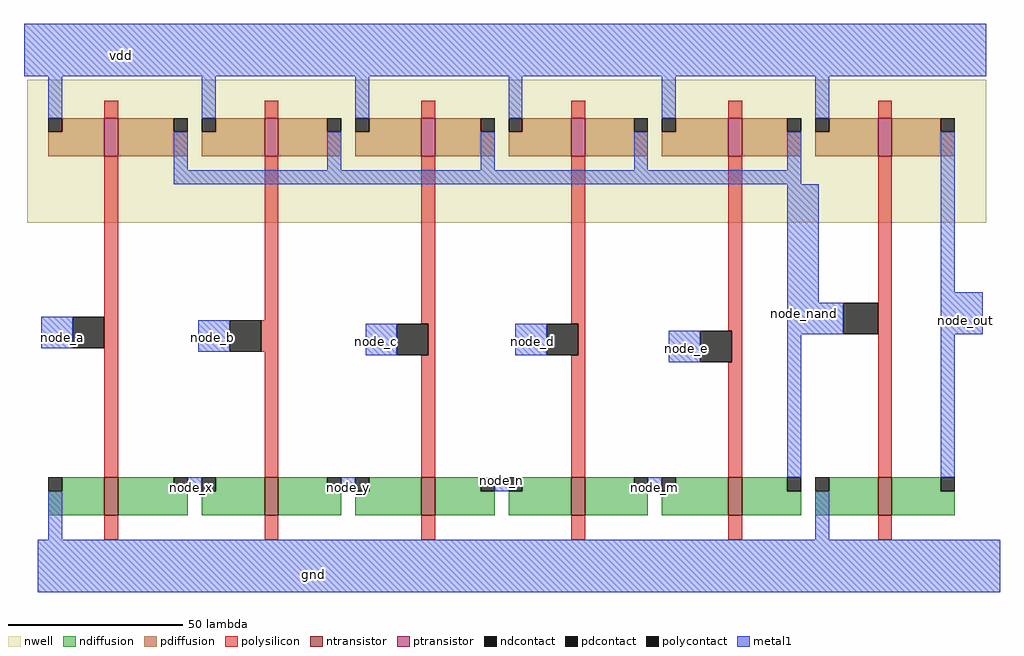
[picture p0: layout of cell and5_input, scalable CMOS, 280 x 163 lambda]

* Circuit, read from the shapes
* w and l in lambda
.subckt and5_input gnd node_a node_b node_c node_d node_e node_m node_n node_nand node_out node_x node_y vdd
M1 node_x node_a gnd VSUBS nfet w=11 l=4
M2 node_y node_b node_x VSUBS nfet w=11 l=4
M3 node_n node_c node_y VSUBS nfet w=11 l=4
M4 node_m node_d node_n VSUBS nfet w=11 l=4
M5 node_nand node_e node_m VSUBS nfet w=11 l=4
M6 node_out node_nand gnd VSUBS nfet w=11 l=4
M7 node_nand node_a vdd n1 pfet w=11 l=4
M8 node_nand node_b vdd n1 pfet w=11 l=4
M9 node_nand node_c vdd n1 pfet w=11 l=4
M10 node_nand node_d vdd n1 pfet w=11 l=4
M11 node_nand node_e vdd n1 pfet w=11 l=4
M12 node_out node_nand vdd n1 pfet w=11 l=4
.ends

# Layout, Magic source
magic
tech scmos
<< nwell >>
rect -594 810 -319 851
<< ntransistor >>
rect -572 726 -568 737
rect -526 726 -522 737
rect -481 726 -477 737
rect -438 726 -434 737
rect -393 726 -389 737
rect -350 726 -346 737
<< ptransistor >>
rect -572 829 -568 840
rect -526 829 -522 840
rect -481 829 -477 840
rect -438 829 -434 840
rect -393 829 -389 840
rect -350 829 -346 840
<< ndiffusion >>
rect -584 733 -572 737
rect -588 726 -572 733
rect -568 733 -552 737
rect -568 726 -548 733
rect -540 733 -526 737
rect -544 726 -526 733
rect -522 733 -508 737
rect -522 726 -504 733
rect -496 733 -481 737
rect -500 726 -481 733
rect -477 733 -464 737
rect -477 726 -460 733
rect -452 733 -438 737
rect -456 726 -438 733
rect -434 733 -420 737
rect -434 726 -416 733
rect -408 733 -393 737
rect -412 726 -393 733
rect -389 733 -376 737
rect -389 726 -372 733
rect -364 733 -350 737
rect -368 726 -350 733
rect -346 733 -332 737
rect -346 726 -328 733
<< pdiffusion >>
rect -584 836 -572 840
rect -588 829 -572 836
rect -568 836 -552 840
rect -568 829 -548 836
rect -540 836 -526 840
rect -544 829 -526 836
rect -522 836 -508 840
rect -522 829 -504 836
rect -496 836 -481 840
rect -500 829 -481 836
rect -477 836 -464 840
rect -477 829 -460 836
rect -452 836 -438 840
rect -456 829 -438 836
rect -434 836 -420 840
rect -434 829 -416 836
rect -408 836 -393 840
rect -412 829 -393 836
rect -389 836 -376 840
rect -389 829 -372 836
rect -364 836 -350 840
rect -368 829 -350 836
rect -346 836 -332 840
rect -346 829 -328 836
<< ndcontact >>
rect -588 733 -584 737
rect -552 733 -548 737
rect -544 733 -540 737
rect -508 733 -504 737
rect -500 733 -496 737
rect -464 733 -460 737
rect -456 733 -452 737
rect -420 733 -416 737
rect -412 733 -408 737
rect -376 733 -372 737
rect -368 733 -364 737
rect -332 733 -328 737
<< pdcontact >>
rect -588 836 -584 840
rect -552 836 -548 840
rect -544 836 -540 840
rect -508 836 -504 840
rect -500 836 -496 840
rect -464 836 -460 840
rect -456 836 -452 840
rect -420 836 -416 840
rect -412 836 -408 840
rect -376 836 -372 840
rect -368 836 -364 840
rect -332 836 -328 840
<< polysilicon >>
rect -572 840 -568 845
rect -526 840 -522 845
rect -481 840 -477 845
rect -438 840 -434 845
rect -393 840 -389 845
rect -350 840 -346 845
rect -572 737 -568 829
rect -526 782 -522 829
rect -527 773 -522 782
rect -481 781 -477 829
rect -438 781 -434 829
rect -526 737 -522 773
rect -479 772 -477 781
rect -436 772 -434 781
rect -393 779 -389 829
rect -481 737 -477 772
rect -438 737 -434 772
rect -392 770 -389 779
rect -393 737 -389 770
rect -350 737 -346 829
rect -572 719 -568 726
rect -526 719 -522 726
rect -481 719 -477 726
rect -438 719 -434 726
rect -393 719 -389 726
rect -350 719 -346 726
<< polycontact >>
rect -581 774 -572 783
rect -536 773 -527 782
rect -488 772 -479 781
rect -445 772 -436 781
rect -401 770 -392 779
rect -360 778 -350 787
<< metal1 >>
rect -595 852 -319 867
rect -588 840 -584 852
rect -544 840 -540 852
rect -500 840 -496 852
rect -456 840 -452 852
rect -412 840 -408 852
rect -368 840 -364 852
rect -552 825 -548 836
rect -508 825 -504 836
rect -464 825 -460 836
rect -420 825 -416 836
rect -376 825 -372 836
rect -552 821 -372 825
rect -376 787 -367 821
rect -332 790 -328 836
rect -590 774 -581 783
rect -545 773 -536 782
rect -497 772 -488 781
rect -454 772 -445 781
rect -410 770 -401 779
rect -376 778 -360 787
rect -332 778 -320 790
rect -376 737 -372 778
rect -332 737 -328 778
rect -548 733 -544 737
rect -504 733 -500 737
rect -460 733 -456 737
rect -416 733 -412 737
rect -588 719 -584 733
rect -368 719 -364 733
rect -591 704 -315 719
<< labels >>
rlabel metal1 -567 858 -567 858 1 vdd
rlabel metal1 -584 777 -584 777 1 node_a
rlabel metal1 -541 777 -541 777 1 node_b
rlabel metal1 -494 776 -494 776 1 node_c
rlabel metal1 -449 776 -449 776 1 node_d
rlabel metal1 -405 774 -405 774 1 node_e
rlabel metal1 -371 784 -371 784 1 node_nand
rlabel metal1 -512 709 -512 709 1 gnd
rlabel metal1 -547 734 -547 734 1 node_x
rlabel metal1 -502 734 -502 734 1 node_y
rlabel metal1 -458 736 -458 736 1 node_n
rlabel metal1 -414 734 -414 734 1 node_m
rlabel metal1 -325 782 -325 782 1 node_out
<< end >>
